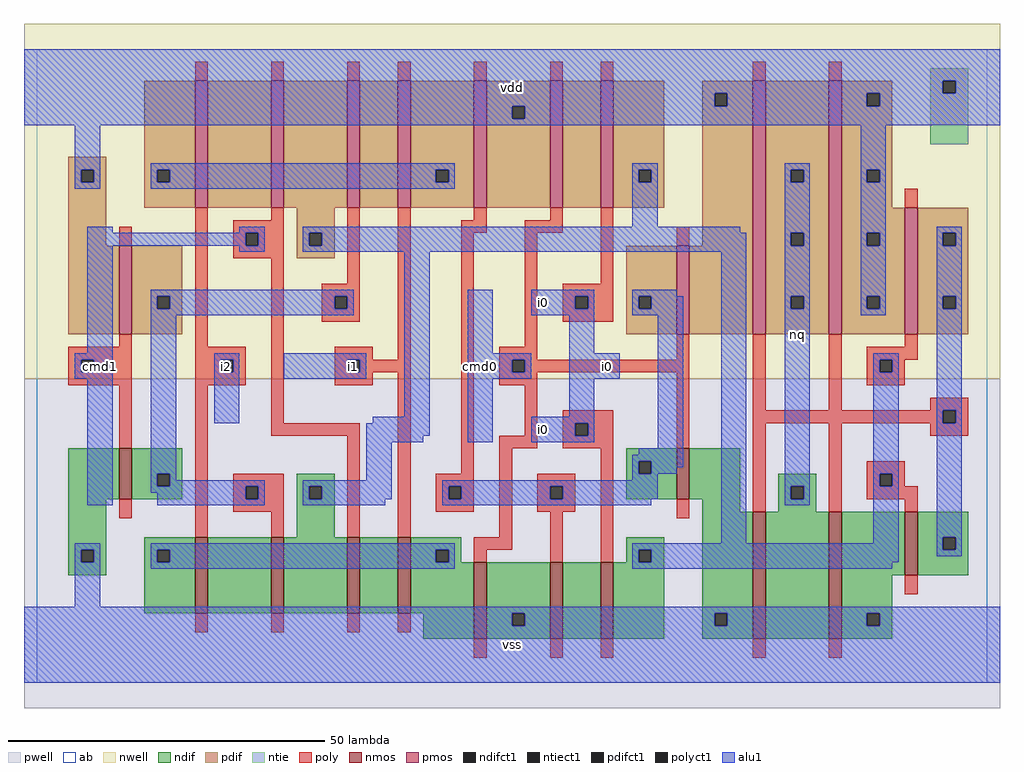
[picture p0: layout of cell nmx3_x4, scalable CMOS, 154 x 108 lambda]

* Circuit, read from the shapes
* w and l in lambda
.subckt nmx3_x4 cmd0 cmd1 i0 i1 i2 nq vdd vss
M1 n1 cmd1 vss VSUBS nfet w=8 l=2
M2 n2 i2 n3 VSUBS nfet w=12 l=2
M3 n4 n1 n2 VSUBS nfet w=12 l=2
M4 n5 cmd1 n4 VSUBS nfet w=12 l=2
M5 n3 i1 n5 VSUBS nfet w=12 l=2
M6 vss cmd0 n3 VSUBS nfet w=12 l=2
M7 n6 n7 vss VSUBS nfet w=12 l=2
M8 n4 i0 n6 VSUBS nfet w=12 l=2
M9 vss cmd0 n7 VSUBS nfet w=8 l=2
M10 nq n8 vss VSUBS nfet w=20 l=2 m=2
M11 n8 n4 vss VSUBS nfet w=10 l=2
M12 n1 cmd1 vdd vdd pfet w=14 l=2
M13 n9 i2 n10 vdd pfet w=20 l=2
M14 n4 cmd1 n9 vdd pfet w=20 l=2
M15 n11 n1 n4 vdd pfet w=20 l=2
M16 n10 i1 n11 vdd pfet w=20 l=2
M17 vdd n7 n10 vdd pfet w=20 l=2
M18 n12 cmd0 vdd vdd pfet w=20 l=2
M19 n4 i0 n12 vdd pfet w=20 l=2
M20 vdd cmd0 n7 vdd pfet w=14 l=2
M21 nq n8 vdd vdd pfet w=40 l=2 m=2
M22 n8 n4 vdd vdd pfet w=20 l=2
.ends

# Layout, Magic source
magic
tech scmos
<< ab >>
rect 0 0 150 100
<< nwell >>
rect -2 48 152 104
<< pwell >>
rect -2 -4 152 48
<< poly >>
rect 25 95 27 98
rect 37 95 39 98
rect 49 95 51 98
rect 57 95 59 98
rect 69 95 71 98
rect 81 95 83 98
rect 89 95 91 98
rect 113 95 115 98
rect 125 95 127 98
rect 13 69 15 72
rect 13 53 15 55
rect 5 51 15 53
rect 5 49 7 51
rect 9 49 15 51
rect 5 47 15 49
rect 13 37 15 47
rect 25 53 27 75
rect 37 73 39 75
rect 31 71 39 73
rect 31 69 33 71
rect 35 69 39 71
rect 31 67 39 69
rect 25 51 33 53
rect 25 49 29 51
rect 31 49 33 51
rect 25 47 33 49
rect 13 26 15 29
rect 25 23 27 47
rect 37 41 39 67
rect 49 63 51 75
rect 45 61 51 63
rect 45 59 47 61
rect 49 59 51 61
rect 45 57 51 59
rect 47 51 53 53
rect 57 51 59 75
rect 69 73 71 75
rect 81 73 83 75
rect 47 49 49 51
rect 51 49 59 51
rect 47 47 53 49
rect 37 39 51 41
rect 31 31 39 33
rect 31 29 33 31
rect 35 29 39 31
rect 31 27 39 29
rect 37 23 39 27
rect 49 23 51 39
rect 57 23 59 49
rect 67 71 71 73
rect 77 71 83 73
rect 67 33 69 71
rect 77 53 79 71
rect 89 63 91 75
rect 101 69 103 72
rect 83 61 91 63
rect 83 59 85 61
rect 87 59 91 61
rect 83 57 91 59
rect 137 75 139 78
rect 73 51 79 53
rect 101 51 103 55
rect 73 49 75 51
rect 77 49 103 51
rect 73 47 79 49
rect 77 39 79 47
rect 63 31 69 33
rect 63 29 65 31
rect 67 29 69 31
rect 63 27 69 29
rect 73 37 79 39
rect 83 41 91 43
rect 83 39 85 41
rect 87 39 91 41
rect 83 37 91 39
rect 101 37 103 49
rect 113 43 115 55
rect 125 43 127 55
rect 137 53 139 55
rect 131 51 139 53
rect 131 49 133 51
rect 135 49 137 51
rect 131 47 137 49
rect 141 43 147 45
rect 113 41 143 43
rect 145 41 147 43
rect 73 23 75 37
rect 79 31 85 33
rect 79 29 81 31
rect 83 29 85 31
rect 79 27 85 29
rect 69 21 75 23
rect 69 19 71 21
rect 81 19 83 27
rect 89 19 91 37
rect 101 26 103 29
rect 113 27 115 41
rect 125 27 127 41
rect 141 39 147 41
rect 131 33 137 35
rect 131 31 133 33
rect 135 31 137 33
rect 131 29 139 31
rect 137 27 139 29
rect 25 8 27 11
rect 37 8 39 11
rect 49 8 51 11
rect 57 8 59 11
rect 137 14 139 17
rect 69 4 71 7
rect 81 4 83 7
rect 89 4 91 7
rect 113 4 115 7
rect 125 4 127 7
<< ndif >>
rect 5 29 13 37
rect 15 33 23 37
rect 15 31 19 33
rect 21 31 23 33
rect 15 29 23 31
rect 5 21 11 29
rect 41 31 47 33
rect 41 29 43 31
rect 45 29 47 31
rect 41 23 47 29
rect 5 19 7 21
rect 9 19 11 21
rect 5 17 11 19
rect 17 21 25 23
rect 17 19 19 21
rect 21 19 25 21
rect 17 11 25 19
rect 27 11 37 23
rect 39 11 49 23
rect 51 11 57 23
rect 59 21 67 23
rect 59 19 63 21
rect 65 19 67 21
rect 93 35 101 37
rect 93 33 95 35
rect 97 33 101 35
rect 93 29 101 33
rect 103 29 111 37
rect 105 27 111 29
rect 117 31 123 33
rect 117 29 119 31
rect 121 29 123 31
rect 117 27 123 29
rect 93 21 99 23
rect 93 19 95 21
rect 97 19 99 21
rect 59 11 69 19
rect 61 7 69 11
rect 71 11 81 19
rect 71 9 75 11
rect 77 9 81 11
rect 71 7 81 9
rect 83 7 89 19
rect 91 7 99 19
rect 105 11 113 27
rect 105 9 107 11
rect 109 9 113 11
rect 105 7 113 9
rect 115 7 125 27
rect 127 17 137 27
rect 139 23 147 27
rect 139 21 143 23
rect 145 21 147 23
rect 139 17 147 21
rect 127 11 135 17
rect 127 9 131 11
rect 133 9 135 11
rect 127 7 135 9
<< pdif >>
rect 5 81 11 83
rect 5 79 7 81
rect 9 79 11 81
rect 5 69 11 79
rect 17 81 25 95
rect 17 79 19 81
rect 21 79 25 81
rect 17 75 25 79
rect 27 75 37 95
rect 39 75 49 95
rect 51 75 57 95
rect 59 81 69 95
rect 59 79 63 81
rect 65 79 69 81
rect 59 75 69 79
rect 71 91 81 95
rect 71 89 75 91
rect 77 89 81 91
rect 71 75 81 89
rect 83 75 89 95
rect 91 81 99 95
rect 91 79 95 81
rect 97 79 99 81
rect 91 75 99 79
rect 105 93 113 95
rect 105 91 107 93
rect 109 91 113 93
rect 5 55 13 69
rect 15 61 23 69
rect 15 59 19 61
rect 21 59 23 61
rect 15 55 23 59
rect 41 71 47 75
rect 41 69 43 71
rect 45 69 47 71
rect 41 67 47 69
rect 105 69 113 91
rect 93 61 101 69
rect 93 59 95 61
rect 97 59 101 61
rect 93 55 101 59
rect 103 55 113 69
rect 115 81 125 95
rect 115 79 119 81
rect 121 79 125 81
rect 115 71 125 79
rect 115 69 119 71
rect 121 69 125 71
rect 115 61 125 69
rect 115 59 119 61
rect 121 59 125 61
rect 115 55 125 59
rect 127 93 135 95
rect 127 91 131 93
rect 133 91 135 93
rect 127 81 135 91
rect 127 79 131 81
rect 133 79 135 81
rect 127 75 135 79
rect 127 71 137 75
rect 127 69 131 71
rect 133 69 137 71
rect 127 61 137 69
rect 127 59 131 61
rect 133 59 137 61
rect 127 55 137 59
rect 139 71 147 75
rect 139 69 143 71
rect 145 69 147 71
rect 139 61 147 69
rect 139 59 143 61
rect 145 59 147 61
rect 139 55 147 59
<< alu1 >>
rect -2 95 152 100
rect -2 93 143 95
rect 145 93 152 95
rect -2 91 107 93
rect 109 91 131 93
rect 133 91 152 93
rect -2 89 75 91
rect 77 89 152 91
rect -2 88 152 89
rect 6 81 10 88
rect 6 79 7 81
rect 9 79 10 81
rect 6 78 10 79
rect 18 81 66 82
rect 18 79 19 81
rect 21 79 63 81
rect 65 79 66 81
rect 18 78 66 79
rect 94 81 98 82
rect 94 79 95 81
rect 97 79 98 81
rect 94 72 98 79
rect 118 81 122 82
rect 118 79 119 81
rect 121 79 122 81
rect 8 71 12 72
rect 32 71 36 72
rect 8 69 33 71
rect 35 69 36 71
rect 8 52 12 69
rect 32 68 36 69
rect 42 71 111 72
rect 118 71 122 79
rect 42 69 43 71
rect 45 69 112 71
rect 42 68 112 69
rect 6 51 12 52
rect 6 49 7 51
rect 9 49 12 51
rect 6 48 12 49
rect 8 28 12 48
rect 18 61 50 62
rect 18 59 19 61
rect 21 59 47 61
rect 49 59 50 61
rect 18 58 50 59
rect 18 33 22 58
rect 28 51 32 52
rect 28 49 29 51
rect 31 49 32 51
rect 28 41 32 49
rect 39 51 52 52
rect 39 49 49 51
rect 51 49 52 51
rect 39 48 52 49
rect 58 42 62 68
rect 53 41 62 42
rect 18 31 19 33
rect 21 32 22 33
rect 52 39 62 41
rect 68 52 72 62
rect 78 61 88 62
rect 78 59 85 61
rect 87 59 88 61
rect 78 58 88 59
rect 94 61 101 62
rect 94 59 95 61
rect 97 59 102 61
rect 94 58 102 59
rect 84 52 88 58
rect 68 51 78 52
rect 68 49 75 51
rect 77 49 78 51
rect 68 48 78 49
rect 84 48 92 52
rect 52 38 61 39
rect 68 38 72 48
rect 84 42 88 48
rect 78 41 88 42
rect 78 39 85 41
rect 87 39 88 41
rect 78 38 88 39
rect 52 32 56 38
rect 98 37 102 58
rect 95 36 102 37
rect 94 35 102 36
rect 94 33 95 35
rect 97 34 102 35
rect 97 33 101 34
rect 94 32 98 33
rect 21 31 36 32
rect 18 30 33 31
rect 19 29 33 30
rect 35 29 36 31
rect 19 28 36 29
rect 42 31 56 32
rect 42 29 43 31
rect 45 29 56 31
rect 64 31 98 32
rect 64 29 65 31
rect 67 29 81 31
rect 83 29 98 31
rect 42 28 55 29
rect 64 28 97 29
rect 108 22 112 68
rect 118 69 119 71
rect 121 69 122 71
rect 118 61 122 69
rect 118 59 119 61
rect 121 59 122 61
rect 118 31 122 59
rect 130 81 134 88
rect 130 79 131 81
rect 133 79 134 81
rect 130 71 134 79
rect 130 69 131 71
rect 133 69 134 71
rect 130 61 134 69
rect 130 59 131 61
rect 133 59 134 61
rect 130 58 134 59
rect 142 71 146 72
rect 142 69 143 71
rect 145 69 146 71
rect 142 61 146 69
rect 142 59 143 61
rect 145 59 146 61
rect 118 29 119 31
rect 121 29 122 31
rect 118 28 122 29
rect 132 51 136 52
rect 132 49 133 51
rect 135 49 136 51
rect 132 33 136 49
rect 132 31 133 33
rect 135 31 136 33
rect 132 22 136 31
rect 6 21 10 22
rect 6 19 7 21
rect 9 19 10 21
rect 6 12 10 19
rect 18 21 66 22
rect 18 19 19 21
rect 21 19 63 21
rect 65 19 66 21
rect 18 18 66 19
rect 94 21 136 22
rect 94 19 95 21
rect 97 19 136 21
rect 142 43 146 59
rect 142 41 143 43
rect 145 41 146 43
rect 142 23 146 41
rect 142 21 143 23
rect 145 21 146 23
rect 142 20 146 21
rect 94 18 135 19
rect -2 11 152 12
rect -2 9 75 11
rect 77 9 107 11
rect 109 9 131 11
rect 133 9 152 11
rect -2 0 152 9
<< ntie >>
rect 141 95 147 97
rect 141 93 143 95
rect 145 93 147 95
rect 141 85 147 93
<< nmos >>
rect 13 29 15 37
rect 25 11 27 23
rect 37 11 39 23
rect 49 11 51 23
rect 57 11 59 23
rect 101 29 103 37
rect 69 7 71 19
rect 81 7 83 19
rect 89 7 91 19
rect 113 7 115 27
rect 125 7 127 27
rect 137 17 139 27
<< pmos >>
rect 25 75 27 95
rect 37 75 39 95
rect 49 75 51 95
rect 57 75 59 95
rect 69 75 71 95
rect 81 75 83 95
rect 89 75 91 95
rect 13 55 15 69
rect 101 55 103 69
rect 113 55 115 95
rect 125 55 127 95
rect 137 55 139 75
<< polyct1 >>
rect 7 49 9 51
rect 33 69 35 71
rect 29 49 31 51
rect 47 59 49 61
rect 49 49 51 51
rect 33 29 35 31
rect 85 59 87 61
rect 75 49 77 51
rect 65 29 67 31
rect 85 39 87 41
rect 133 49 135 51
rect 143 41 145 43
rect 81 29 83 31
rect 133 31 135 33
<< ndifct1 >>
rect 19 31 21 33
rect 43 29 45 31
rect 7 19 9 21
rect 19 19 21 21
rect 63 19 65 21
rect 95 33 97 35
rect 119 29 121 31
rect 95 19 97 21
rect 75 9 77 11
rect 107 9 109 11
rect 143 21 145 23
rect 131 9 133 11
<< ntiect1 >>
rect 143 93 145 95
<< pdifct1 >>
rect 7 79 9 81
rect 19 79 21 81
rect 63 79 65 81
rect 75 89 77 91
rect 95 79 97 81
rect 107 91 109 93
rect 19 59 21 61
rect 43 69 45 71
rect 95 59 97 61
rect 119 79 121 81
rect 119 69 121 71
rect 119 59 121 61
rect 131 91 133 93
rect 131 79 133 81
rect 131 69 133 71
rect 131 59 133 61
rect 143 69 145 71
rect 143 59 145 61
<< labels >>
rlabel alu1 10 50 10 50 6 cmd1
rlabel polyct1 30 50 30 50 6 i2
rlabel polyct1 50 50 50 50 6 i1
rlabel alu1 75 6 75 6 6 vss
rlabel alu1 80 40 80 40 6 i0
rlabel alu1 70 50 70 50 6 cmd0
rlabel alu1 80 60 80 60 6 i0
rlabel alu1 75 94 75 94 6 vdd
rlabel alu1 90 50 90 50 6 i0
rlabel alu1 120 55 120 55 6 nq
<< end >>
